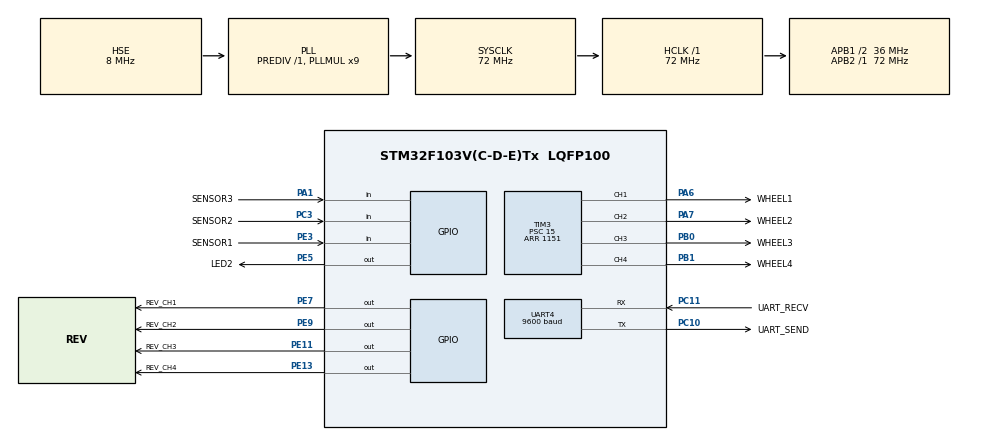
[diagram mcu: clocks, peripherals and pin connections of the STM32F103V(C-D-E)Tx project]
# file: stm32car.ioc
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Dma.Request0=UART4_RX
Dma.Request1=UART4_TX
Dma.UART4_RX.0.Direction=DMA_PERIPH_TO_MEMORY
Dma.UART4_RX.0.Instance=DMA2_Channel3
Dma.UART4_RX.0.MemDataAlignment=DMA_MDATAALIGN_BYTE
Dma.UART4_RX.0.MemInc=DMA_MINC_ENABLE
Dma.UART4_RX.0.Mode=DMA_NORMAL
Dma.UART4_RX.0.PeriphDataAlignment=DMA_PDATAALIGN_BYTE
Dma.UART4_RX.0.PeriphInc=DMA_PINC_DISABLE
Dma.UART4_RX.0.Priority=DMA_PRIORITY_LOW
Dma.UART4_TX.1.Direction=DMA_MEMORY_TO_PERIPH
Dma.UART4_TX.1.Instance=DMA2_Channel5
Dma.UART4_TX.1.MemDataAlignment=DMA_MDATAALIGN_BYTE
Dma.UART4_TX.1.MemInc=DMA_MINC_ENABLE
Dma.UART4_TX.1.Mode=DMA_NORMAL
Dma.UART4_TX.1.PeriphDataAlignment=DMA_PDATAALIGN_BYTE
Dma.UART4_TX.1.PeriphInc=DMA_PINC_DISABLE
Dma.UART4_TX.1.Priority=DMA_PRIORITY_LOW
Mcu.Family=STM32F1
Mcu.Name=STM32F103V(C-D-E)Tx
Mcu.Package=LQFP100
NVIC.DMA2_Channel3_IRQn=true\:0\:0\:false\:false\:true\:false\:true\:true
NVIC.DMA2_Channel4_5_IRQn=true\:0\:0\:false\:false\:true\:false\:true\:true
NVIC.PriorityGroup=NVIC_PRIORITYGROUP_4
NVIC.UART4_IRQn=true\:0\:0\:false\:false\:true\:true\:true\:true
OSC_IN.Mode=HSE-External-Oscillator
OSC_IN.Signal=RCC_OSC_IN
OSC_OUT.Mode=HSE-External-Oscillator
OSC_OUT.Signal=RCC_OSC_OUT
PA0-WKUP.Mode=SYS_WakeUp0
PA0-WKUP.Signal=SYS_WKUP
PA1.GPIO_Label=SENSOR3
PA1.Signal=GPIO_Input
PA13.Mode=Serial_Wire
PA13.Signal=SYS_JTMS-SWDIO
PA14.Mode=Serial_Wire
PA14.Signal=SYS_JTCK-SWCLK
PA6.GPIO_Label=WHEEL1
PA6.Signal=S_TIM3_CH1
PA7.GPIO_Label=WHEEL2
PA7.Signal=S_TIM3_CH2
PB0.GPIO_Label=WHEEL3
PB0.Signal=S_TIM3_CH3
PB1.GPIO_Label=WHEEL4
PB1.Signal=S_TIM3_CH4
PC10.GPIO_Label=UART_SEND
PC10.Mode=Asynchronous
PC10.Signal=UART4_TX
PC11.GPIO_Label=UART_RECV
PC11.Mode=Asynchronous
PC11.Signal=UART4_RX
PC3.GPIO_Label=SENSOR2
PC3.Signal=GPIO_Input
PE11.GPIO_Label=REV_CH3
PE11.Signal=GPIO_Output
PE13.GPIO_Label=REV_CH4
PE13.Signal=GPIO_Output
PE3.GPIO_Label=SENSOR1
PE3.Signal=GPIO_Input
PE5.GPIO_Label=LED2
PE5.Signal=GPIO_Output
PE7.GPIO_Label=REV_CH1
PE7.Signal=GPIO_Output
PE9.GPIO_Label=REV_CH2
PE9.Signal=GPIO_Output
ProjectManager.HeapSize=0x200
ProjectManager.StackSize=0x400
ProjectManager.TargetToolchain=MDK-ARM V5.32
RCC.AHBFreq_Value=72000000
RCC.APB1CLKDivider=RCC_HCLK_DIV2
RCC.APB1Freq_Value=36000000
RCC.APB1TimFreq_Value=72000000
RCC.APB2Freq_Value=72000000
RCC.APB2TimFreq_Value=72000000
RCC.HCLKFreq_Value=72000000
RCC.PLLMUL=RCC_PLL_MUL9
RCC.PLLSourceVirtual=RCC_PLLSOURCE_HSE
RCC.RCC_MCOSource=RCC_MCO1SOURCE_HSE
RCC.SYSCLKFreq_VALUE=72000000
RCC.SYSCLKSource=RCC_SYSCLKSOURCE_PLLCLK
RCC.USBFreq_Value=72000000
SH.S_TIM3_CH1.0=TIM3_CH1,PWM Generation1 CH1
SH.S_TIM3_CH2.0=TIM3_CH2,PWM Generation2 CH2
SH.S_TIM3_CH3.0=TIM3_CH3,PWM Generation3 CH3
SH.S_TIM3_CH4.0=TIM3_CH4,PWM Generation4 CH4
TIM3.Channel-PWM\ Generation1\ CH1=TIM_CHANNEL_1
TIM3.Channel-PWM\ Generation2\ CH2=TIM_CHANNEL_2
TIM3.Channel-PWM\ Generation3\ CH3=TIM_CHANNEL_3
TIM3.Channel-PWM\ Generation4\ CH4=TIM_CHANNEL_4
TIM3.Period=1151
TIM3.Prescaler=15
TIM3.Pulse-PWM\ Generation1\ CH1=575
TIM3.Pulse-PWM\ Generation2\ CH2=575
TIM3.Pulse-PWM\ Generation3\ CH3=575
TIM3.Pulse-PWM\ Generation4\ CH4=575
UART4.BaudRate=9600
UART4.VirtualMode=Asynchronous
VP_TIM3_VS_ClockSourceINT.Mode=Internal
board=custom

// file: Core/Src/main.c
/* USER CODE BEGIN Header */
/**
  ******************************************************************************
  * @file           : main.c
  * @brief          : Main program body
  ******************************************************************************
  * @attention
  *
  * Copyright (c) 2023 STMicroelectronics.
  * All rights reserved.
  *
  * This software is licensed under terms that can be found in the LICENSE file
  * in the root directory of this software component.
  * If no LICENSE file comes with this software, it is provided AS-IS.
  *
  ******************************************************************************
  */
/* USER CODE END Header */
#include "main.h"
#include "dma.h"
#include "tim.h"
#include "usart.h"
#include "gpio.h"

/* USER CODE BEGIN PV */
uint8_t user_last_command;
uint8_t last_moving_method = 'H';
GPIO_PinState SA;
GPIO_PinState SB;
GPIO_PinState SC;

/* USER CODE END PV */

void SystemClock_Config(void);

/* USER CODE BEGIN 0 */
// move forward
void PQ() {
    HAL_GPIO_WritePin(REV_CH1_GPIO_Port, REV_CH1_Pin, GPIO_PIN_RESET);
    HAL_GPIO_WritePin(REV_CH2_GPIO_Port, REV_CH2_Pin, GPIO_PIN_RESET);
    HAL_GPIO_WritePin(REV_CH3_GPIO_Port, REV_CH3_Pin, GPIO_PIN_SET);
    HAL_GPIO_WritePin(REV_CH4_GPIO_Port, REV_CH4_Pin, GPIO_PIN_SET);
    WHEEL1_CCR = DEFAULT_CCR;
    WHEEL2_CCR = DEFAULT_CCR;
    WHEEL3_CCR = DEFAULT_CCR;
    WHEEL4_CCR = DEFAULT_CCR;
}

// moving backward
void PH() {
    HAL_GPIO_WritePin(REV_CH1_GPIO_Port, REV_CH1_Pin, GPIO_PIN_SET);
    HAL_GPIO_WritePin(REV_CH2_GPIO_Port, REV_CH2_Pin, GPIO_PIN_SET);
    HAL_GPIO_WritePin(REV_CH3_GPIO_Port, REV_CH3_Pin, GPIO_PIN_RESET);
    HAL_GPIO_WritePin(REV_CH4_GPIO_Port, REV_CH4_Pin, GPIO_PIN_RESET);
    WHEEL1_CCR = DEFAULT_CCR;
    WHEEL2_CCR = DEFAULT_CCR;
    WHEEL3_CCR = DEFAULT_CCR;
    WHEEL4_CCR = DEFAULT_CCR;
}

// turn left
void PZ() {
    HAL_GPIO_WritePin(REV_CH1_GPIO_Port, REV_CH1_Pin, GPIO_PIN_RESET);
    HAL_GPIO_WritePin(REV_CH2_GPIO_Port, REV_CH2_Pin, GPIO_PIN_RESET);
    HAL_GPIO_WritePin(REV_CH3_GPIO_Port, REV_CH3_Pin, GPIO_PIN_RESET);
    HAL_GPIO_WritePin(REV_CH4_GPIO_Port, REV_CH4_Pin, GPIO_PIN_RESET);
    WHEEL1_CCR = DEFAULT_CCR;
    WHEEL2_CCR = DEFAULT_CCR;
    WHEEL3_CCR = DEFAULT_CCR;
    WHEEL4_CCR = DEFAULT_CCR;
}

// turn right
void PY() {
    HAL_GPIO_WritePin(REV_CH1_GPIO_Port, REV_CH1_Pin, GPIO_PIN_SET);
    HAL_GPIO_WritePin(REV_CH2_GPIO_Port, REV_CH2_Pin, GPIO_PIN_SET);
    HAL_GPIO_WritePin(REV_CH3_GPIO_Port, REV_CH3_Pin, GPIO_PIN_RESET);
    HAL_GPIO_WritePin(REV_CH4_GPIO_Port, REV_CH4_Pin, GPIO_PIN_RESET);
    WHEEL1_CCR = DEFAULT_CCR;
    WHEEL2_CCR = DEFAULT_CCR;
    WHEEL3_CCR = DEFAULT_CCR;
    WHEEL4_CCR = DEFAULT_CCR;
}

// moving forward with turn left
void PL() {
    HAL_GPIO_WritePin(REV_CH1_GPIO_Port, REV_CH1_Pin, GPIO_PIN_RESET);
    HAL_GPIO_WritePin(REV_CH2_GPIO_Port, REV_CH2_Pin, GPIO_PIN_RESET);
    HAL_GPIO_WritePin(REV_CH3_GPIO_Port, REV_CH3_Pin, GPIO_PIN_SET);
    HAL_GPIO_WritePin(REV_CH4_GPIO_Port, REV_CH4_Pin, GPIO_PIN_SET);
    WHEEL1_CCR = 0;
    WHEEL2_CCR = 0;
    WHEEL3_CCR = DEFAULT_CCR;
    WHEEL4_CCR = DEFAULT_CCR;
}

// moving forward with turn right
void PR() {
    HAL_GPIO_WritePin(REV_CH1_GPIO_Port, REV_CH1_Pin, GPIO_PIN_RESET);
    HAL_GPIO_WritePin(REV_CH2_GPIO_Port, REV_CH2_Pin, GPIO_PIN_RESET);
    HAL_GPIO_WritePin(REV_CH3_GPIO_Port, REV_CH3_Pin, GPIO_PIN_SET);
    HAL_GPIO_WritePin(REV_CH4_GPIO_Port, REV_CH4_Pin, GPIO_PIN_SET);
    WHEEL1_CCR = DEFAULT_CCR;
    WHEEL2_CCR = DEFAULT_CCR;
    WHEEL3_CCR = 0;
    WHEEL4_CCR = 0;
}

// Halt
void Stop() {
    HAL_GPIO_WritePin(REV_CH1_GPIO_Port, REV_CH1_Pin, GPIO_PIN_RESET);
    HAL_GPIO_WritePin(REV_CH2_GPIO_Port, REV_CH2_Pin, GPIO_PIN_RESET);
    HAL_GPIO_WritePin(REV_CH3_GPIO_Port, REV_CH3_Pin, GPIO_PIN_RESET);
    HAL_GPIO_WritePin(REV_CH4_GPIO_Port, REV_CH4_Pin, GPIO_PIN_RESET);
    WHEEL1_CCR = 0;
    WHEEL2_CCR = 0;
    WHEEL3_CCR = 0;
    WHEEL4_CCR = 0;
}

/* USER CODE END 0 */

int main(void)
{

  /* MCU Configuration--------------------------------------------------------*/

  /* Reset of all peripherals, Initializes the Flash interface and the Systick. */
  HAL_Init();

  /* Configure the system clock */
  SystemClock_Config();

  /* Initialize all configured peripherals */
  MX_GPIO_Init();
  MX_DMA_Init();
  MX_UART4_Init();
  MX_TIM3_Init();
  /* USER CODE BEGIN 2 */
    // move 100ms to tell user we boot on
    /*HAL_TIM_PWM_Start(&WHEEL1_htim, WHEEL1_TIM_CHANNEL);
    HAL_Delay(300);
    HAL_TIM_PWM_Stop(&WHEEL1_htim, WHEEL1_TIM_CHANNEL);
    HAL_Delay(300);

    HAL_TIM_PWM_Start(&WHEEL2_htim, WHEEL2_TIM_CHANNEL);
    HAL_Delay(300);
    HAL_TIM_PWM_Stop(&WHEEL2_htim, WHEEL2_TIM_CHANNEL);
    HAL_Delay(300);

    HAL_TIM_PWM_Start(&WHEEL3_htim, WHEEL3_TIM_CHANNEL);
    HAL_Delay(300);
    HAL_TIM_PWM_Stop(&WHEEL3_htim, WHEEL3_TIM_CHANNEL);
    HAL_Delay(300);

    HAL_TIM_PWM_Start(&WHEEL4_htim, WHEEL4_TIM_CHANNEL);
    HAL_Delay(300);
    HAL_TIM_PWM_Stop(&WHEEL4_htim, WHEEL4_TIM_CHANNEL);
    HAL_Delay(300);*/

    //  Enable UART serial port idle interrupt
    __HAL_UART_ENABLE_IT(&huart4, UART_IT_IDLE);
    //  Enable DMA reception to Idle
    //  "rx_data_length" is defined in "usart.h"
    HAL_UARTEx_ReceiveToIdle_DMA(&huart4, rx_data, rx_data_length);
    HAL_Delay(300);
    last_moving_method = 'A';

    HAL_TIM_PWM_Start(&WHEEL1_htim, WHEEL1_TIM_CHANNEL);
    HAL_TIM_PWM_Start(&WHEEL2_htim, WHEEL2_TIM_CHANNEL);
    HAL_TIM_PWM_Start(&WHEEL3_htim, WHEEL3_TIM_CHANNEL);
    HAL_TIM_PWM_Start(&WHEEL4_htim, WHEEL4_TIM_CHANNEL);

  /* USER CODE END 2 */

  /* Infinite loop */
  /* USER CODE BEGIN WHILE */
    while (1) {
        if (last_moving_method == 'A') {
            SA = HAL_GPIO_ReadPin(SENSOR1_GPIO_Port, SENSOR1_Pin);
            SB = HAL_GPIO_ReadPin(SENSOR2_GPIO_Port, SENSOR2_Pin);
            SC = HAL_GPIO_ReadPin(SENSOR3_GPIO_Port, SENSOR3_Pin);
            //[][*][]
            if (SA == GPIO_PIN_RESET && SB == GPIO_PIN_SET && SC == GPIO_PIN_RESET) {
                PQ();
            }
            // [*][][]
            else if (SA == GPIO_PIN_SET && SB == GPIO_PIN_RESET && SC == GPIO_PIN_RESET) {
                PZ();
            }
            // [][][*]
            else if (SA == GPIO_PIN_RESET && SB == GPIO_PIN_RESET && SC == GPIO_PIN_SET) {
                PY();
            }
            // [*][][*]
            else if (SA == GPIO_PIN_SET && SB == GPIO_PIN_RESET && SC == GPIO_PIN_SET) {
                PZ();
            }
            // [][*][*]
            else if (SA == GPIO_PIN_RESET && SB == GPIO_PIN_SET && SC == GPIO_PIN_SET) {
                PR();
            }
            // [*][*][]
            else if (SA == GPIO_PIN_SET && SB == GPIO_PIN_SET && SC == GPIO_PIN_RESET) {
                PL();
            }
            // [*][*][*]
            else if (SA == GPIO_PIN_RESET && SB == GPIO_PIN_RESET && SC == GPIO_PIN_RESET) {
                PZ();
            } else {
                Stop();
            }
        } else {
            HAL_Delay(1000);
        }

    /* USER CODE END WHILE */

    }
}

void SystemClock_Config(void)
{
  RCC_OscInitTypeDef RCC_OscInitStruct = {0};
  RCC_ClkInitTypeDef RCC_ClkInitStruct = {0};

  /** Initializes the RCC Oscillators according to the specified parameters
  * in the RCC_OscInitTypeDef structure.
  */
  RCC_OscInitStruct.OscillatorType = RCC_OSCILLATORTYPE_HSE;
  RCC_OscInitStruct.HSEState = RCC_HSE_ON;
  RCC_OscInitStruct.HSEPredivValue = RCC_HSE_PREDIV_DIV1;
  RCC_OscInitStruct.HSIState = RCC_HSI_ON;
  RCC_OscInitStruct.PLL.PLLState = RCC_PLL_ON;
  RCC_OscInitStruct.PLL.PLLSource = RCC_PLLSOURCE_HSE;
  RCC_OscInitStruct.PLL.PLLMUL = RCC_PLL_MUL9;
  if (HAL_RCC_OscConfig(&RCC_OscInitStruct) != HAL_OK)
  {
    Error_Handler();
  }

  /** Initializes the CPU, AHB and APB buses clocks
  */
  RCC_ClkInitStruct.ClockType = RCC_CLOCKTYPE_HCLK|RCC_CLOCKTYPE_SYSCLK
                              |RCC_CLOCKTYPE_PCLK1|RCC_CLOCKTYPE_PCLK2;
  RCC_ClkInitStruct.SYSCLKSource = RCC_SYSCLKSOURCE_PLLCLK;
  RCC_ClkInitStruct.AHBCLKDivider = RCC_SYSCLK_DIV1;
  RCC_ClkInitStruct.APB1CLKDivider = RCC_HCLK_DIV2;
  RCC_ClkInitStruct.APB2CLKDivider = RCC_HCLK_DIV1;

  if (HAL_RCC_ClockConfig(&RCC_ClkInitStruct, FLASH_LATENCY_2) != HAL_OK)
  {
    Error_Handler();
  }
}

/* USER CODE BEGIN 4 */
// Pending Implementation
void MyUartCallbackHandler(void) {
//    Detect and execute control command
    // toggle LED2 to indicate that we have received a command.
    HAL_GPIO_TogglePin(LED2_GPIO_Port, LED2_Pin);
    switch (rx_data[0]) {
        //  'M': Continuous motion
        case '0':
        case '1': {
            user_last_command = 'M';
            // switch moving method
            if (last_moving_method == 'H') {
                // init PWM
                HAL_TIM_PWM_Start(&WHEEL1_htim, WHEEL1_TIM_CHANNEL);
                HAL_TIM_PWM_Start(&WHEEL2_htim, WHEEL2_TIM_CHANNEL);
                HAL_TIM_PWM_Start(&WHEEL3_htim, WHEEL3_TIM_CHANNEL);
                HAL_TIM_PWM_Start(&WHEEL4_htim, WHEEL4_TIM_CHANNEL);
            }
            // Direction of wheel 1
            if (rx_data[0] == '0') {
                HAL_GPIO_WritePin(REV_CH1_GPIO_Port, REV_CH1_Pin, GPIO_PIN_RESET);
            } else {
                HAL_GPIO_WritePin(REV_CH1_GPIO_Port, REV_CH1_Pin, GPIO_PIN_SET);
            }
            // Direction of wheel 2
            if (rx_data[1] == '0') {
                HAL_GPIO_WritePin(REV_CH2_GPIO_Port, REV_CH2_Pin, GPIO_PIN_RESET);
            } else {
                HAL_GPIO_WritePin(REV_CH2_GPIO_Port, REV_CH2_Pin, GPIO_PIN_SET);
            }
            // Direction of wheel 3
            if (rx_data[2] == '0') {
                HAL_GPIO_WritePin(REV_CH3_GPIO_Port, REV_CH3_Pin, GPIO_PIN_RESET);
            } else {
                HAL_GPIO_WritePin(REV_CH3_GPIO_Port, REV_CH3_Pin, GPIO_PIN_SET);
            }
            // Direction of wheel 4
            if (rx_data[3] == '0') {
                HAL_GPIO_WritePin(REV_CH4_GPIO_Port, REV_CH4_Pin, GPIO_PIN_RESET);
            } else {
                HAL_GPIO_WritePin(REV_CH4_GPIO_Port, REV_CH4_Pin, GPIO_PIN_SET);
            }

            // Speed of wheel 1
            HAL_TIM_PWM_Stop(&WHEEL1_htim, WHEEL1_TIM_CHANNEL);
            WHEEL1_CCR = (rx_data[4] - '0') * 64;
            HAL_TIM_PWM_Start(&WHEEL1_htim, WHEEL1_TIM_CHANNEL);

            // Speed of wheel 2
            HAL_TIM_PWM_Stop(&WHEEL2_htim, WHEEL2_TIM_CHANNEL);
            WHEEL2_CCR = (rx_data[5] - '0') * 64;
            HAL_TIM_PWM_Start(&WHEEL2_htim, WHEEL2_TIM_CHANNEL);

            // Speed of wheel 3
            HAL_TIM_PWM_Stop(&WHEEL3_htim, WHEEL3_TIM_CHANNEL);
            WHEEL3_CCR = (rx_data[6] - '0') * 64;
            HAL_TIM_PWM_Start(&WHEEL3_htim, WHEEL3_TIM_CHANNEL);

            // Speed of wheel 4
            HAL_TIM_PWM_Stop(&WHEEL4_htim, WHEEL4_TIM_CHANNEL);
            WHEEL4_CCR = (rx_data[7] - '0') * 64;
            HAL_TIM_PWM_Start(&WHEEL4_htim, WHEEL4_TIM_CHANNEL);

            // Set last_moving_method to 'M'
            last_moving_method = 'M';
            break;
        }
            // 'E': Echo that we are online
        case 'E': {

            // erase command to avoid calling echo again
            rx_data[0] = '0';
            tx_data[0] = user_last_command;
            for (int i = 1; i < tx_data_length; ++i) {
                tx_data[i] = rx_data[i];
            }
            __HAL_UART_DISABLE_IT(&huart4, UART_IT_IDLE);
            // send buffer, reused rx_data as tx_data
            // Notice! calling this function may trigger a UART interrupt
            // which will call MyUartCallbackHandler() again
            HAL_UART_Transmit(&huart4, tx_data, tx_data_length, 300);
            __HAL_UART_ENABLE_IT(&huart4, UART_IT_IDLE);
            user_last_command = 'E';
            break;
        }
        // 'P': Packaged commands
        case 'P': {
            // switch moving method
            if (last_moving_method == 'H') {
                // init PWM
                HAL_TIM_PWM_Start(&WHEEL1_htim, WHEEL1_TIM_CHANNEL);
                HAL_TIM_PWM_Start(&WHEEL2_htim, WHEEL2_TIM_CHANNEL);
                HAL_TIM_PWM_Start(&WHEEL3_htim, WHEEL3_TIM_CHANNEL);
                HAL_TIM_PWM_Start(&WHEEL4_htim, WHEEL4_TIM_CHANNEL);
            }
            switch (rx_data[1]) {
                // moving forward
                case 'Q': {
                    PQ();
                    break;
                }
                // moving backward
                case 'H': {
                    PH();
                    HAL_TIM_PWM_Stop(&WHEEL1_htim, TIM_CHANNEL_1);
                    HAL_TIM_PWM_Stop(&WHEEL2_htim, TIM_CHANNEL_2);
                    HAL_TIM_PWM_Stop(&WHEEL3_htim, TIM_CHANNEL_3);
                    HAL_TIM_PWM_Stop(&WHEEL4_htim, TIM_CHANNEL_4);
                    user_last_command = 'H';
                    last_moving_method = 'H';
                    break;
                }
                // turn left
                case 'Z': {
                    PZ();
                    break;
                }
                // turn right
                case 'Y': {
                    PY();
                    break;
                }
                // moving forward with turn left
                case 'L': {
                    PL();
                    break;
                }
                // moving forward with turn right
                case 'R': {
                    PR();
                    break;
                }
                default:
                    break;
            }
            user_last_command = 'P';
            last_moving_method = 'M';
            break;
        }
        // 'H': Halt
        case 'H': {
            Stop();
            break;
        }
        // 'A': Follow the line
        case 'A': {
            if (last_moving_method == 'H') {
                HAL_TIM_PWM_Start(&WHEEL1_htim, WHEEL1_TIM_CHANNEL);
                HAL_TIM_PWM_Start(&WHEEL2_htim, WHEEL2_TIM_CHANNEL);
                HAL_TIM_PWM_Start(&WHEEL3_htim, WHEEL3_TIM_CHANNEL);
                HAL_TIM_PWM_Start(&WHEEL4_htim, WHEEL4_TIM_CHANNEL);
            }
            user_last_command = 'A';
            last_moving_method = 'A';
            break;
        }
        default:
            return;
    }
}

void HAL_UARTEx_RxEventCallback(UART_HandleTypeDef *huart, uint16_t Size) {
    UNUSED(Size);
    // Calling self written interrupt handling functions
    MyUartCallbackHandler();
    // Restart DMA transmission
    // the usage of "HAL_UART_Transmit_DMA" will cause "HAL_BUSY" error
    if (HAL_DMA_GetState(huart->hdmarx) == HAL_DMA_STATE_BUSY) {
        HAL_DMA_Abort(huart->hdmarx);
    }
    if (HAL_UART_GetState(huart) == HAL_UART_STATE_BUSY_RX) {
        HAL_UART_AbortReceive(huart);
    }
    HAL_UARTEx_ReceiveToIdle_DMA(huart, rx_data, rx_data_length);
}

/* USER CODE END 4 */

void Error_Handler(void)
{
  /* USER CODE BEGIN Error_Handler_Debug */
    /* User can add his own implementation to report the HAL error return state */
    // Turn on LED2
    HAL_GPIO_WritePin(LED2_GPIO_Port, LED2_Pin, GPIO_PIN_RESET);
    __disable_irq();
    HAL_NVIC_SystemReset();
    while (1) {
    }
  /* USER CODE END Error_Handler_Debug */
}
